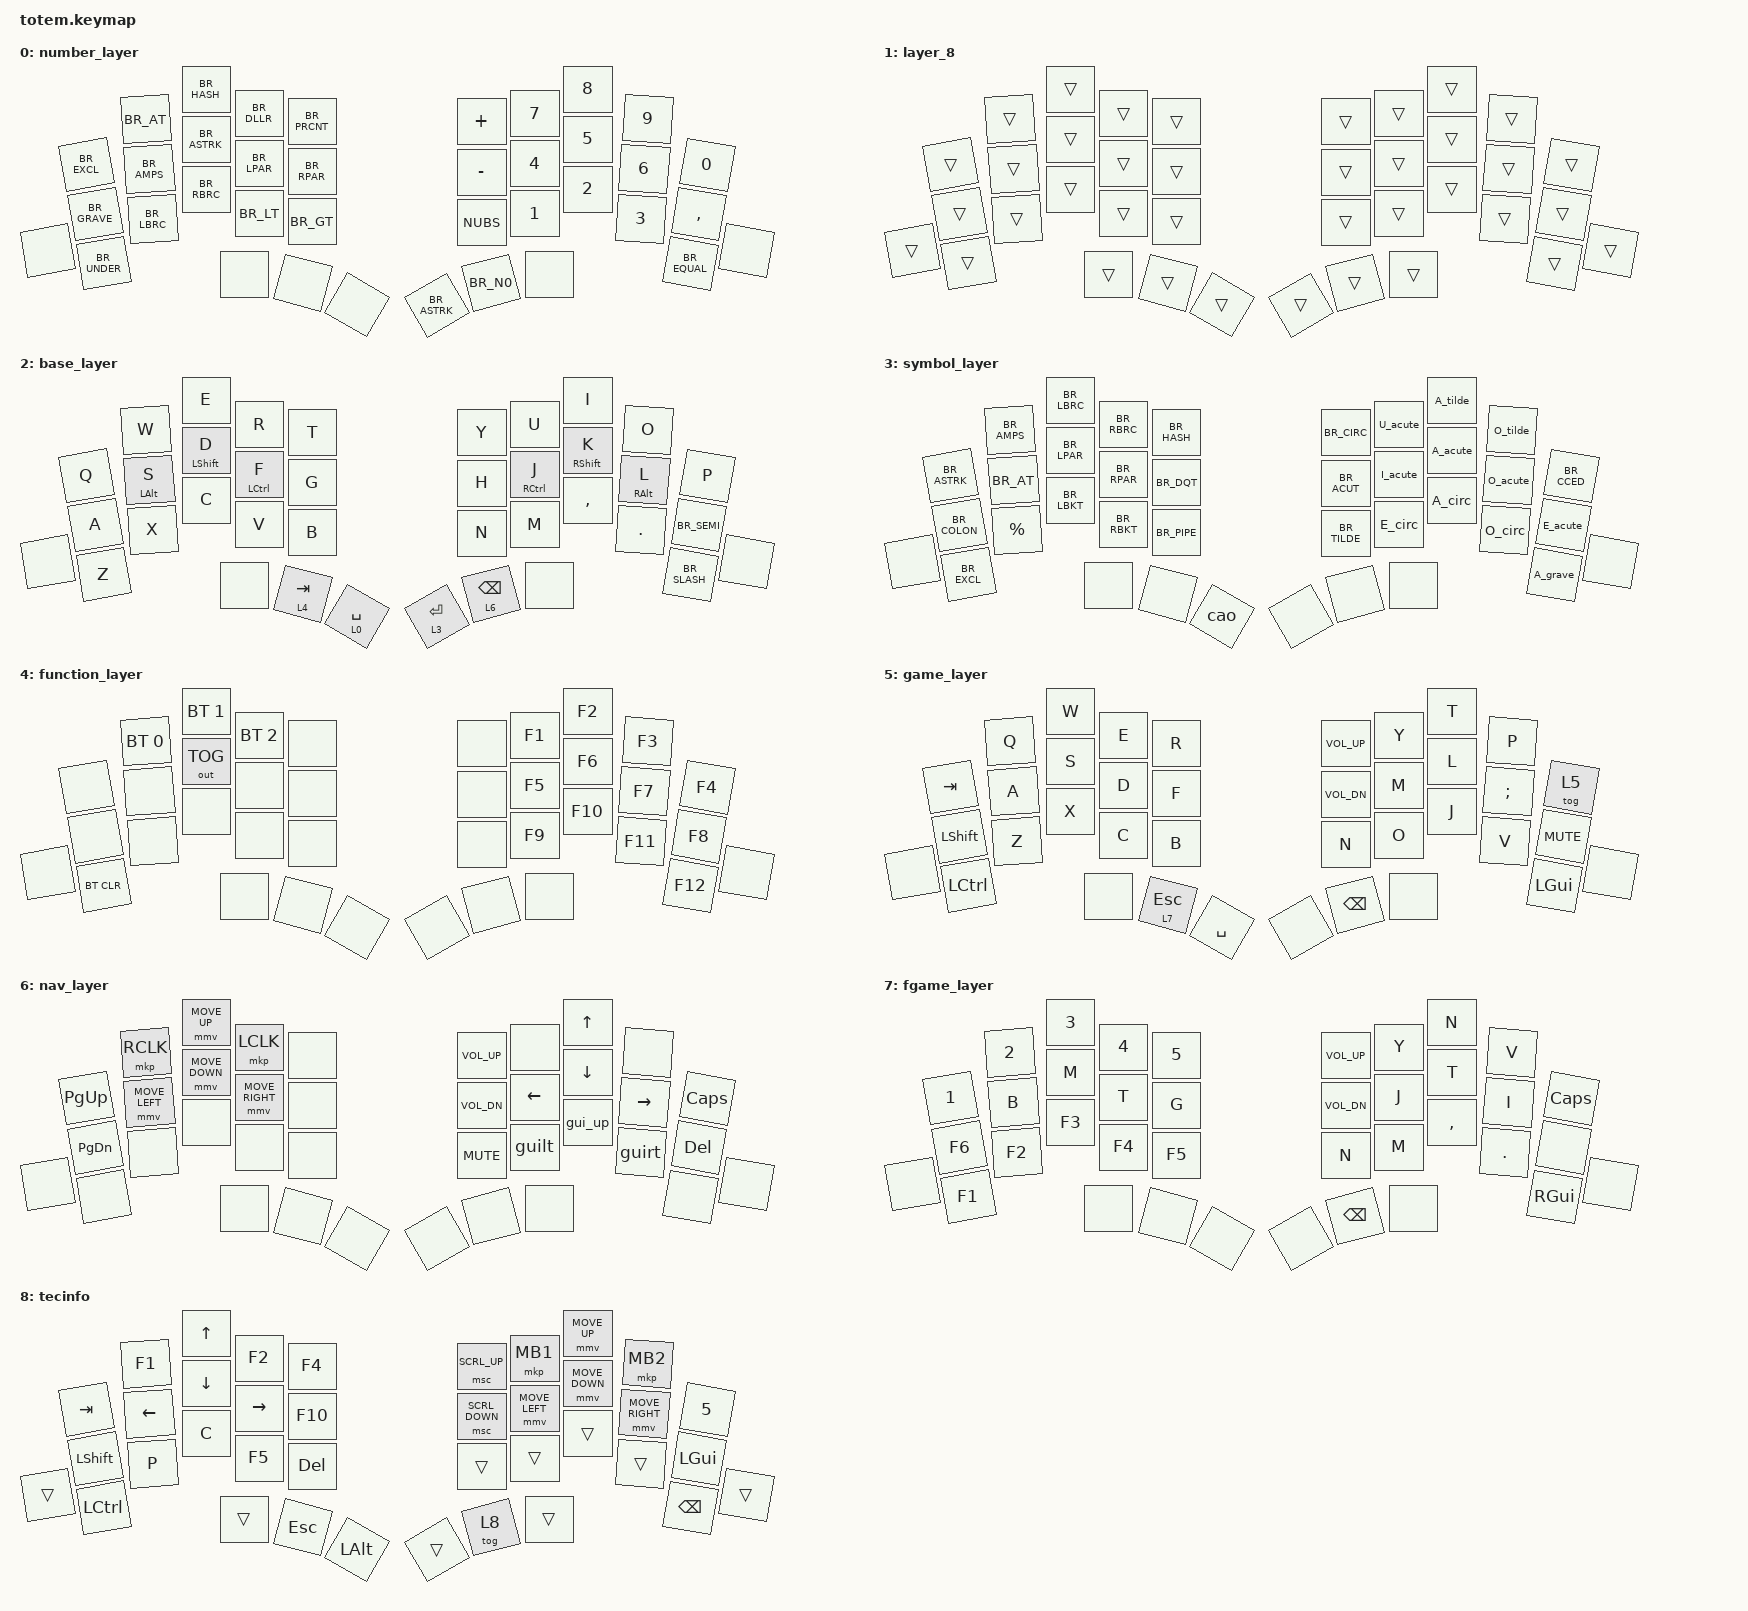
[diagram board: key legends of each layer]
#include "keys_br_abnt2.h"
#include "helper.h"
#include "accents.dtsi"
#include <behaviors.dtsi>
#include <dt-bindings/zmk/bt.h>
#include <dt-bindings/zmk/keys.h>
#include <dt-bindings/zmk/outputs.h>
#include <dt-bindings/zmk/pointing.h>

#define BASE 0
#define NUM  1
#define SYM  2
#define FUN  3
#define gam  4
#define NAV  5
#define FGM  6
#define tec  7

AC_KEY(A_acute, BR_A, BR_ACUT)
AC_KEY(A_grave, BR_A, BR_GRAVE)
AC_KEY(A_tilde, BR_A, BR_TILDE)
AC_KEY(A_circ,  BR_A, BR_CIRC)
AC_KEY(E_acute, BR_E, BR_ACUT)
AC_KEY(E_circ,  BR_E, BR_CIRC)
AC_KEY(I_acute, BR_I, BR_ACUT)
AC_KEY(O_acute, BR_O, BR_ACUT)
AC_KEY(O_tilde, BR_O, BR_TILDE)
AC_KEY(O_circ,  BR_O, BR_CIRC)
AC_KEY(U_acute, BR_U, BR_ACUT)

UNDEAD_KEY(tilde, BR_TILDE)
UNDEAD_KEY(caret, BR_CIRC)
UNDEAD_KEY(grave, BR_GRAVE)

&lt {
    tapping-term-ms = <TAPPING_TERM>;
    flavor = "balanced";
};

/ {
    behaviors {
        hm: homerow_mods {
            compatible = "zmk,behavior-hold-tap";
            label = "HOMEROW_MODS";
            #binding-cells = <2>;
            tapping-term-ms = <TAPPING_TERM>;
            flavor = "balanced";
            bindings = <&kp>, <&kp>;
        };
    };

    combos {
        compatible = "zmk,combos";

        // combo_esc {
        //timeout-ms = <50>;
        //key-positions = <13 16>;
        //  bindings = <&caps_word>;
        //  };

        game {
            timeout-ms = <50>;
            bindings = <&tog 5>;
            key-positions = <34 13 12>;
            layers = <2>;
        };

        close {
            timeout-ms = <50>;
            bindings = <&close>;
            key-positions = <0 1 2 3>;
            layers = <2>;
        };

        prtsc_combo {
            timeout-ms = <50>;
            bindings = <&kp PRINTSCREEN>;
            key-positions = <5 4>;
            layers = <2>;
        };

        caps {
            timeout-ms = <50>;
            bindings = <&caps_word>;
            key-positions = <22 23 24 21>;
            layers = <2>;
        };

        esc {
            timeout-ms = <50>;
            bindings = <&kp ESC>;
            key-positions = <11 12 13>;
            layers = <2>;
        };

        del {
            timeout-ms = <50>;
            bindings = <&kp DEL>;
            key-positions = <8 9>;
            layers = <2>;
        };

        quest {
            bindings = <&kp BR_QMARK>;
            key-positions = <29 28 27>;
            layers = <2>;
        };

        lgui {
            bindings = <&kp LEFT_GUI>;
            key-positions = <10 11>;
            layers = <2>;
        };

        rgui {
            bindings = <&kp RIGHT_GUI>;
            key-positions = <19 18>;
            layers = <2>;
        };

        lock {
            bindings = <&lock>;
            key-positions = <6 7 8>;
            layers = <6>;
        };

        copy {
            bindings = <&copy>;
            key-positions = <23 22>;
            layers = <2>;
        };

        paste {
            bindings = <&paste>;
            key-positions = <23 24>;
            layers = <2>;
        };

        n1 {
            bindings = <&kp NUMBER_1>;
            key-positions = <0 10>;
            layers = <2>;
        };

        n2 {
            bindings = <&kp NUMBER_2>;
            key-positions = <1 11>;
            layers = <2>;
        };

        n3 {
            bindings = <&kp NUMBER_3>;
            key-positions = <2 12>;
            layers = <2>;
        };

        n4 {
            bindings = <&kp NUMBER_4>;
            key-positions = <3 13>;
            layers = <2>;
        };

        n5 {
            bindings = <&kp NUMBER_5>;
            key-positions = <4 14>;
            layers = <2>;
        };

        n6 {
            bindings = <&kp NUMBER_6>;
            key-positions = <5 15>;
            layers = <2>;
        };

        n7 {
            bindings = <&kp NUMBER_7>;
            key-positions = <6 16>;
            layers = <2>;
        };

        n8 {
            bindings = <&kp NUMBER_8>;
            key-positions = <7 17>;
            layers = <2>;
        };

        n9 {
            bindings = <&kp NUMBER_9>;
            key-positions = <8 18>;
            layers = <2>;
        };

        n0 {
            bindings = <&kp NUMBER_0>;
            key-positions = <9 19>;
            layers = <2>;
        };

        tec {
            bindings = <&tog 8>;
            key-positions = <33 36>;
            layers = <2>;
        };

        circ {
            bindings = <&kp BR_CIRC>;
            key-positions = <7 8>;
            layers = <2>;
        };

        agud {
            bindings = <&kp BR_ACUT>;
            key-positions = <17 18>;
            layers = <2>;
        };

        til {
            bindings = <&kp BR_TILDE>;
            key-positions = <28 29>;
            layers = <2>;
        };

        grave {
            bindings = <&kp BR_GRAVE>;
            key-positions = <16 17>;
            layers = <2>;
        };
    };

    macros {
        close: close {
            compatible = "zmk,behavior-macro";
            label = "new_macro";
            #binding-cells = <0>;
            bindings =
                <&macro_press>,
                <&kp LALT>,
                <&macro_tap>,
                <&kp F4>,
                <&macro_release>,
                <&kp LALT>;
        };

        cao: cao {
            compatible = "zmk,behavior-macro";
            label = "CAO";
            #binding-cells = <0>;
            bindings =
                <&macro_tap>,
                <&kp BR_CCED>,
                <&macro_tap_time 20>,
                <&A_tilde>;
        };

        guilt: guilt {
            compatible = "zmk,behavior-macro";
            label = "GUILT";
            #binding-cells = <0>;
            bindings =
                <&macro_press>,
                <&kp LEFT_GUI>,
                <&macro_tap>,
                <&kp LEFT>,
                <&macro_release>,
                <&kp LEFT_GUI>;
        };

        guirt: guirt {
            compatible = "zmk,behavior-macro";
            label = "GUIRT";
            #binding-cells = <0>;
            bindings =
                <&macro_press>,
                <&kp LEFT_GUI>,
                <&macro_tap>,
                <&kp RIGHT>,
                <&macro_release>,
                <&kp LEFT_WIN>;
        };

        lock: lock {
            compatible = "zmk,behavior-macro";
            label = "LOCK";
            #binding-cells = <0>;
            bindings =
                <&macro_press>,
                <&kp LEFT_GUI>,
                <&macro_tap>,
                <&kp L>,
                <&macro_release>,
                <&kp LEFT_GUI>;
        };

        gui_up: gui_up {
            compatible = "zmk,behavior-macro";
            #binding-cells = <0>;
            bindings =
                <&macro_press>,
                <&kp LEFT_GUI>,
                <&macro_tap>,
                <&kp UP_ARROW>,
                <&macro_release>,
                <&kp LEFT_GUI>;

            label = "GUI_UP";
        };

        copy: copy {
            compatible = "zmk,behavior-macro";
            #binding-cells = <0>;
            bindings =
                <&macro_press>,
                <&kp LEFT_CONTROL>,
                <&macro_tap>,
                <&kp C>,
                <&macro_release>,
                <&kp LEFT_CONTROL>;

            label = "COPY";
        };

        paste: paste {
            compatible = "zmk,behavior-macro";
            #binding-cells = <0>;
            bindings =
                <&macro_press>,
                <&kp LEFT_CONTROL>,
                <&macro_tap>,
                <&kp V>,
                <&macro_release>,
                <&kp LEFT_CONTROL>;

            label = "PASTE";
        };
    };

    keymap {
        compatible = "zmk,keymap";

        number_layer {
            bindings = <
       &kp BR_EXCL   &kp BR_AT    &kp BR_HASH   &kp BR_DLLR  &kp BR_PRCNT  &kp PLUS      &kp N7     &kp N8  &kp N9  &kp N0
       &kp BR_GRAVE  &kp BR_AMPS  &kp BR_ASTRK  &kp BR_LPAR  &kp BR_RPAR   &kp MINUS     &kp N4     &kp N5  &kp N6  &kp COMMA
&none  &kp BR_UNDER  &kp BR_LBRC  &kp BR_RBRC   &kp BR_LT    &kp BR_GT     &kp NUBS      &kp N1     &kp N2  &kp N3  &kp BR_EQUAL  &none
                                  &none         &none        &none         &kp BR_ASTRK  &kp BR_N0  &none
            >;
        };

        layer_8 {
            bindings = <
        &trans  &trans  &trans  &trans  &trans  &trans  &trans  &trans  &trans  &trans
        &trans  &trans  &trans  &trans  &trans  &trans  &trans  &trans  &trans  &trans
&trans  &trans  &trans  &trans  &trans  &trans  &trans  &trans  &trans  &trans  &trans  &trans
                        &trans  &trans  &trans  &trans  &trans  &trans
            >;
        };

        base_layer {
            bindings = <
       &kp Q  &kp W       &kp E        &kp R        &kp T        &kp Y        &kp U        &kp I        &kp O       &kp P
       &kp A  &hm LALT S  &hm LSHFT D  &hm LCTRL F  &kp G        &kp H        &hm RCTRL J  &hm RSHFT K  &hm RALT L  &kp BR_SEMI
&none  &kp Z  &kp X       &kp C        &kp V        &kp B        &kp N        &kp M        &kp COMMA    &kp DOT     &kp BR_SLASH  &none
                          &none        &lt 4 TAB    &lt 0 SPACE  &lt 3 ENTER  &lt 6 BSPC   &none
            >;
        };

        symbol_layer {
            bindings = <
       &kp BR_ASTRK  &kp BR_AMPS  &kp BR_LBRC  &kp BR_RBRC  &kp BR_HASH  &kp BR_CIRC   &U_acute  &A_tilde  &O_tilde  &kp BR_CCED
       &kp BR_COLON  &kp BR_AT    &kp BR_LPAR  &kp BR_RPAR  &kp BR_DQT   &kp BR_ACUT   &I_acute  &A_acute  &O_acute  &E_acute
&none  &kp BR_EXCL   &kp PERCENT  &kp BR_LBKT  &kp BR_RBKT  &kp BR_PIPE  &kp BR_TILDE  &E_circ   &A_circ   &O_circ   &A_grave     &none
                                  &none        &none        &cao         &none         &none     &none
            >;
        };

        function_layer {
            bindings = <
       &none       &bt BT_SEL 0  &bt BT_SEL 1  &bt BT_SEL 2  &none  &none  &kp F1  &kp F2   &kp F3   &kp F4
       &none       &none         &out OUT_TOG  &none         &none  &none  &kp F5  &kp F6   &kp F7   &kp F8
&none  &bt BT_CLR  &none         &none         &none         &none  &none  &kp F9  &kp F10  &kp F11  &kp F12  &none
                                 &none         &none         &none  &none  &none   &none
            >;
        };

        game_layer {
            bindings = <
       &kp TAB    &kp Q  &kp W  &kp E      &kp R      &kp C_VOL_UP  &kp Y          &kp T  &kp P          &tog 5
       &kp LSHFT  &kp A  &kp S  &kp D      &kp F      &kp C_VOL_DN  &kp M          &kp L  &kp SEMICOLON  &kp C_MUTE
&none  &kp LCTRL  &kp Z  &kp X  &kp C      &kp B      &kp N         &kp O          &kp J  &kp V          &kp LGUI    &none
                         &none  &lt 7 ESC  &kp SPACE  &none         &kp BACKSPACE  &none
            >;
        };

        nav_layer {
            bindings = <
       &kp PG_UP  &mkp RCLK       &mmv MOVE_UP    &mkp LCLK        &none  &kp C_VOL_UP  &none     &kp UP    &none      &kp CAPS
       &kp PG_DN  &mmv MOVE_LEFT  &mmv MOVE_DOWN  &mmv MOVE_RIGHT  &none  &kp C_VOL_DN  &kp LEFT  &kp DOWN  &kp RIGHT  &kp DEL
&none  &none      &none           &none           &none            &none  &kp C_MUTE    &guilt    &gui_up   &guirt     &none     &none
                                  &none           &none            &none  &none         &none     &none
            >;
        };

        fgame_layer {
            bindings = <
       &kp NUMBER_1  &kp NUMBER_2  &kp NUMBER_3  &kp NUMBER_4  &kp NUMBER_5  &kp C_VOL_UP  &kp Y          &kp N      &kp V       &kp CAPS
       &kp F6        &kp B         &kp M         &kp T         &kp G         &kp C_VOL_DN  &kp J          &kp T      &kp I       &none
&none  &kp F1        &kp F2        &kp F3        &kp F4        &kp F5        &kp N         &kp M          &kp COMMA  &kp PERIOD  &kp RGUI  &none
                                   &none         &none         &none         &none         &kp BACKSPACE  &none
            >;
        };

        tecinfo {
            bindings = <
        &kp TAB    &kp F1    &kp UP    &kp F2     &kp F4    &msc SCRL_UP    &mkp MB1        &mmv MOVE_UP    &mkp MB2         &kp N5
        &kp LSHFT  &kp LEFT  &kp DOWN  &kp RIGHT  &kp F10   &msc SCRL_DOWN  &mmv MOVE_LEFT  &mmv MOVE_DOWN  &mmv MOVE_RIGHT  &kp LEFT_GUI
&trans  &kp LCTRL  &kp P     &kp C     &kp F5     &kp DEL   &trans          &trans          &trans          &trans           &kp BSPC      &trans
                             &trans    &kp ESC    &kp LALT  &trans          &tog 8          &trans
            >;
        };
    };
};
